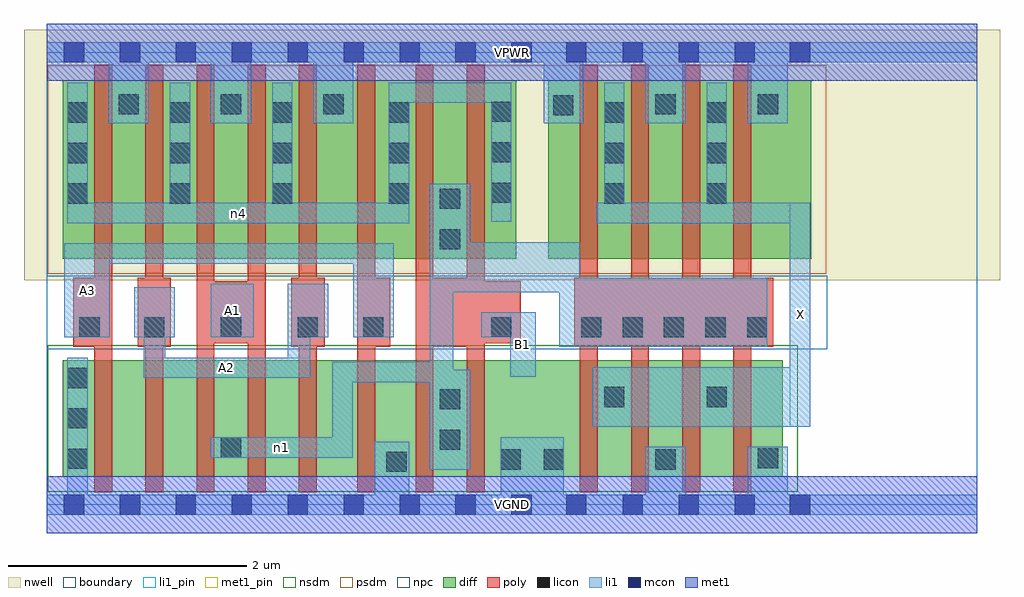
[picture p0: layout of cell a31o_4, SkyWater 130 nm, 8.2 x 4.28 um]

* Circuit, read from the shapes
.subckt a31o_4 A1 A2 A3 B1 VGND VPWR X n1 n4
XM1 n2 A3 VGND VSUBS sky130_fd_pr__nfet_01v8 w=0.98 l=0.15
XM2 n3 A2 n2 VSUBS sky130_fd_pr__nfet_01v8 w=0.98 l=0.15
XM3 n1 A1 n3 VSUBS sky130_fd_pr__nfet_01v8 w=0.98 l=0.15
XM4 n5 A1 n1 VSUBS sky130_fd_pr__nfet_01v8 w=0.98 l=0.15
XM5 n6 A2 n5 VSUBS sky130_fd_pr__nfet_01v8 w=0.98 l=0.15
XM6 VGND A3 n6 VSUBS sky130_fd_pr__nfet_01v8 w=0.98 l=0.15
XM7 n1 B1 VGND VSUBS sky130_fd_pr__nfet_01v8 w=0.98 l=0.15 m=2
XM8 X n1 VGND VSUBS sky130_fd_pr__nfet_01v8 w=0.98 l=0.15 m=4
XM9 VPWR A3 n4 n7 sky130_fd_pr__pfet_01v8 w=1.5 l=0.15 m=2
XM10 n4 A2 VPWR n7 sky130_fd_pr__pfet_01v8 w=1.5 l=0.15 m=2
XM11 VPWR A1 n4 n7 sky130_fd_pr__pfet_01v8 w=1.5 l=0.15 m=2
XM12 n1 B1 n4 n7 sky130_fd_pr__pfet_01v8 w=1.5 l=0.15 m=2
XM13 X n1 VPWR n7 sky130_fd_pr__pfet_01v8 w=1.5 l=0.15 m=4
.ends

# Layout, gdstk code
import gdstk
lib = gdstk.Library(unit=1e-6, precision=1e-09)
def R(c, l, rs):  # rectangles x0, y0, x1, y1
    for r in rs: c.add(gdstk.rectangle(r[:2], r[2:], *l))
def A(c, l, x, y, w, h, nx, ny, dx, dy):  # array of equal rectangles
    R(c, l, [(x+i*dx, y+j*dy, x+i*dx+w, y+j*dy+h) for i in range(nx) for j in range(ny)])
nwell = (64, 20)
diff = (65, 20)
poly = (66, 20)
licon = (66, 44)
li1_pin = (67, 16)
li1 = (67, 20)
mcon = (67, 44)
met1_pin = (68, 16)
met1 = (68, 20)
nsdm = (93, 44)
psdm = (94, 20)
npc = (95, 20)
boundary = (235, 4)

a31o_4 = lib.new_cell('a31o_4')
R(a31o_4, nwell, [(-0.19,1.885,8.01,3.99), (0,1.885,7.82,3.99)])
R(a31o_4, diff, [(0.135,0.235,6.185,1.215), (0.135,2.065,3.945,3.565), (4.215,2.065,6.425,3.565)])
A(a31o_4, poly, 0.4, 0.105, 0.15, 3.59, 5, 1, 0.43, 0)
A(a31o_4, poly, 4.48, 0.105, 0.15, 3.59, 4, 1, 0.43, 0)
R(a31o_4, poly, [(2.61,0.105,2.76,3.695), (3.1,0.105,3.25,3.695), (3.53,0.105,3.68,3.695), (0.225,1.325,0.55,1.905), (0.765,1.325,1.045,1.905), (2.055,1.325,2.335,1.905), (2.61,1.325,2.885,1.905), (3.1,1.325,3.68,1.905), (4.435,1.325,6.105,1.905), (1.26,1.355,1.84,1.875), (3.1,1.355,3.985,1.875)])
A(a31o_4, licon, 0.175, 0.3, 0.17, 0.17, 1, 3, 0, 0.34)
A(a31o_4, licon, 0.82, 1.405, 0.17, 0.17, 3, 1, 0.645, 0)
A(a31o_4, licon, 5.185, 1.405, 0.17, 0.17, 3, 1, 0.35, 0)
A(a31o_4, licon, 0.175, 2.53, 0.17, 0.17, 3, 3, 0.86, 0.34)
A(a31o_4, licon, 2.875, 2.53, 0.17, 0.17, 1, 3, 0, 0.34)
A(a31o_4, licon, 4.685, 2.53, 0.17, 0.17, 1, 3, 0, 0.34)
A(a31o_4, licon, 5.545, 2.53, 0.17, 0.17, 1, 3, 0, 0.34)
A(a31o_4, licon, 3.735, 2.535, 0.17, 0.17, 1, 3, 0, 0.34)
A(a31o_4, licon, 0.605, 3.28, 0.17, 0.17, 3, 1, 0.86, 0)
R(a31o_4, licon, [(2.855,0.275,3.025,0.445), (3.815,0.295,3.985,0.465), (4.175,0.295,4.345,0.465), (5.115,0.295,5.285,0.465), (5.975,0.305,6.145,0.475), (1.465,0.395,1.635,0.565), (3.305,0.46,3.475,0.63), (3.305,0.8,3.475,0.97), (4.685,0.82,4.855,0.99), (5.545,0.82,5.715,0.99), (0.275,1.405,0.445,1.575), (2.66,1.405,2.83,1.575), (3.735,1.405,3.905,1.575), (4.49,1.405,4.66,1.575), (4.84,1.405,5.01,1.575), (3.305,2.145,3.475,2.315), (3.305,2.485,3.475,2.655), (4.255,3.27,4.425,3.44), (5.115,3.28,5.285,3.45), (5.975,3.28,6.145,3.45)])
R(a31o_4, li1_pin, [(6.245,0.655,6.415,2.535), (0.815,1.065,2.215,1.235), (3.895,1.075,4.11,1.615), (0.15,1.405,0.53,2.195), (1.38,1.405,1.74,1.855)])
A(a31o_4, li1, 0.175, 2.365, 0.17, 1.18, 3, 1, 0.86, 0)
R(a31o_4, li1, [(0,-0.085,7.82,0.085), (0.175,-0.085,0.345,1.235), (2.755,-0.085,3.045,0.53), (3.815,-0.085,4.345,0.565), (5.03,-0.085,5.37,0.485), (5.89,-0.085,6.225,0.485), (3.22,0.295,3.415,2.695), (3.22,0.295,3.56,1.135), (1.38,0.395,2.57,0.565), (2.4,0.395,2.57,1.2), (4.59,0.655,6.415,1.155), (6.245,0.655,6.415,2.535), (2.4,1.03,3.415,1.2), (0.815,1.065,2.215,1.235), (0.815,1.065,0.995,1.825), (2.025,1.065,2.215,1.855), (3.895,1.075,4.11,1.615), (4.305,1.325,6.055,1.905), (4.305,1.325,4.48,2.205), (0.15,1.405,0.53,2.195), (0.735,1.405,1.075,1.825), (1.38,1.405,1.74,1.855), (2.025,1.405,2.365,1.855), (2.575,1.405,2.915,2.195), (3.65,1.405,4.11,1.615), (3.22,1.785,4.48,2.205), (3.22,1.785,3.56,2.695), (0.15,2.025,2.915,2.195), (0.175,2.365,3.045,2.535), (2.875,2.365,3.045,3.545), (4.62,2.365,6.415,2.535), (4.685,2.365,4.855,3.545), (5.545,2.365,5.715,3.545), (3.735,2.375,3.905,3.545), (0.52,3.205,0.86,3.885), (1.38,3.205,1.72,3.885), (2.24,3.205,2.575,3.885), (4.175,3.205,4.51,3.885), (5.03,3.205,5.37,3.885), (5.89,3.205,6.225,3.885), (2.875,3.375,3.905,3.545), (0,3.715,7.82,3.885)])
A(a31o_4, mcon, 0.145, -0.085, 0.17, 0.17, 9, 2, 0.47, 3.8)
A(a31o_4, mcon, 4.84, -0.085, 0.17, 0.17, 3, 2, 0.47, 3.8)
R(a31o_4, mcon, [(4.365,-0.085,4.535,0.085), (6.245,-0.085,6.415,0.085), (4.365,3.715,4.535,3.885), (6.245,3.715,6.415,3.885)])
R(a31o_4, met1_pin, [(0,-0.24,7.82,0.24), (0,3.56,7.82,4.04)])
R(a31o_4, met1, [(0,-0.24,7.82,0.24), (0,3.56,7.82,4.04)])
R(a31o_4, nsdm, [(0.01,0.11,6.31,1.34)])
R(a31o_4, psdm, [(0.01,1.94,6.55,3.69)])
R(a31o_4, npc, [(0,1.305,6.56,1.925)])
R(a31o_4, boundary, [(0,0,7.82,3.8)])
a31o_4.add(gdstk.Label('A1', (1.56,1.63), layer=67, texttype=5))
a31o_4.add(gdstk.Label('A2', (1.515,1.15), layer=67, texttype=5))
a31o_4.add(gdstk.Label('A3', (0.34,1.8), layer=67, texttype=5))
a31o_4.add(gdstk.Label('B1', (4.002,1.345), layer=67, texttype=5))
a31o_4.add(gdstk.Label('X', (6.33,1.595), layer=67, texttype=5))
a31o_4.add(gdstk.Label('n1', (1.975,0.48), layer=67, texttype=5))
a31o_4.add(gdstk.Label('n4', (1.61,2.45), layer=67, texttype=5))
a31o_4.add(gdstk.Label('VPWR', (3.91,3.8), layer=68, texttype=5))
a31o_4.add(gdstk.Label('VGND', (3.91,0), layer=68, texttype=5))
a31o_4.add(gdstk.Label('A1', (1.56,1.63), layer=67, texttype=16))
a31o_4.add(gdstk.Label('A2', (1.515,1.15), layer=67, texttype=16))
a31o_4.add(gdstk.Label('A3', (0.34,1.8), layer=67, texttype=16))
a31o_4.add(gdstk.Label('B1', (4.002,1.345), layer=67, texttype=16))
a31o_4.add(gdstk.Label('X', (6.33,1.595), layer=67, texttype=16))
a31o_4.add(gdstk.Label('VPWR', (3.91,3.8), layer=68, texttype=16))
a31o_4.add(gdstk.Label('VGND', (3.91,0), layer=68, texttype=16))

lib.write_gds('a31o_4.gds')
